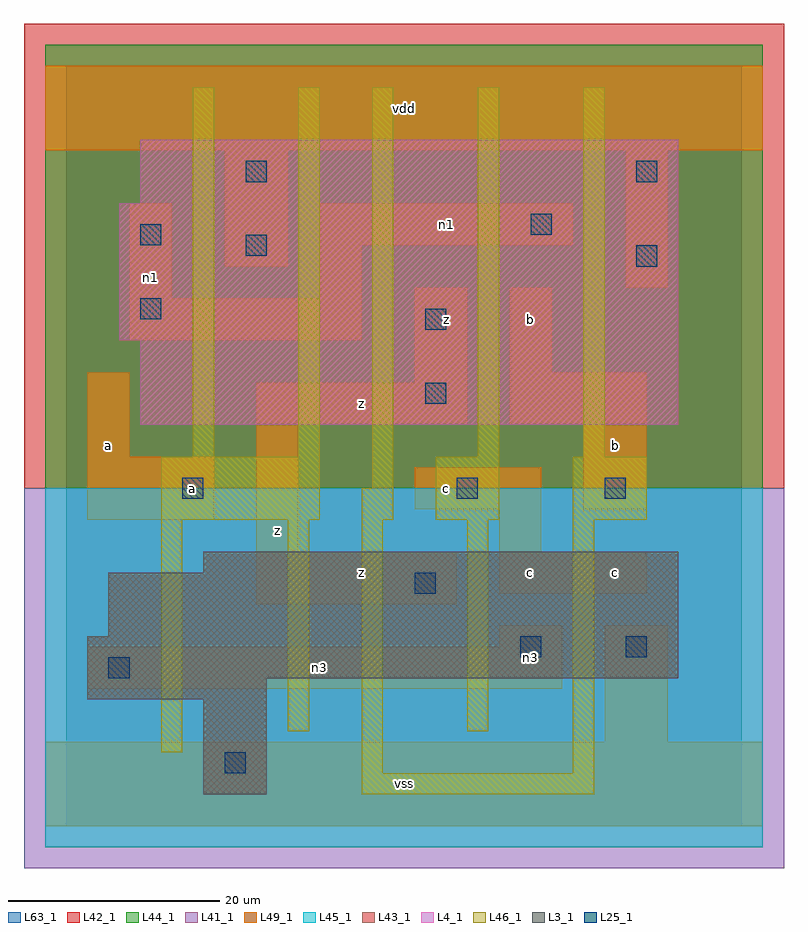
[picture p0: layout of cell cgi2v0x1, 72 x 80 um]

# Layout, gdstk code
import gdstk
lib = gdstk.Library(unit=1e-6, precision=1e-09)
def R(c, l, rs):  # rectangles x0, y0, x1, y1
    for r in rs: c.add(gdstk.rectangle(r[:2], r[2:], *l))
L3_1 = (3, 1)
L4_1 = (4, 1)
L25_1 = (25, 1)
L41_1 = (41, 1)
L42_1 = (42, 1)
L43_1 = (43, 1)
L44_1 = (44, 1)
L45_1 = (45, 1)
L46_1 = (46, 1)
L49_1 = (49, 1)
L63_1 = (63, 1)

cgi2v0x1 = lib.new_cell('cgi2v0x1')
R(cgi2v0x1, L3_1, [(13,3,19,12), (2,12,19,14), (2,14,58,18), (4,18,58,24), (13,24,58,26)])
R(cgi2v0x1, L4_1, [(7,38,58,46), (5,46,58,59), (7,59,58,65)])
R(cgi2v0x1, L25_1, [(15,5,17,7), (4,14,6,16), (43,16,45,18), (53,16,55,18), (33,22,35,24), (11,31,13,33), (37,31,39,33), (51,31,53,33), (34,40,36,42), (34,47,36,49), (7,48,9,50), (54,53,56,55), (17,54,19,56), (7,55,9,57), (44,56,46,58), (17,61,19,63), (54,61,56,63)])
R(cgi2v0x1, L41_1, [(-4,-4,68,32)])
R(cgi2v0x1, L42_1, [(-4,32,68,76)])
R(cgi2v0x1, L43_1, [(13,3,19,12), (2,12,19,14), (2,14,58,18), (4,18,58,24), (13,24,58,26), (7,38,58,46), (5,46,58,59), (7,59,58,65)])
R(cgi2v0x1, L44_1, [(-2,32,66,74)])
R(cgi2v0x1, L45_1, [(-2,-2,66,32)])
R(cgi2v0x1, L46_1, [(28,3,50,5), (28,5,30,29), (48,5,50,29), (9,7,11,29), (21,9,23,29), (38,9,40,29), (9,29,24,35), (28,29,31,32), (35,29,41,35), (48,29,55,35), (29,32,31,70), (12,35,14,70), (22,35,24,70), (39,35,41,70), (49,35,51,70)])
R(cgi2v0x1, L49_1, [(-2,0,66,8), (51,8,57,19), (2,13,47,17), (41,17,47,19), (18,21,37,26), (41,22,55,26), (18,26,22,38), (41,26,45,30), (2,29,14,35), (33,30,45,34), (49,30,55,38), (2,35,6,43), (18,38,38,42), (42,38,55,43), (33,42,38,51), (42,43,46,51), (6,46,28,50), (6,50,10,59), (24,50,28,55), (53,51,57,64), (15,53,21,64), (24,55,48,59), (-2,64,66,72)])
R(cgi2v0x1, L63_1, [(0,0,64,72)])
cgi2v0x1.add(gdstk.Label('a', (12,32), layer=49, texttype=1))
cgi2v0x1.add(gdstk.Label('a', (4,36), layer=49, texttype=1))
cgi2v0x1.add(gdstk.Label('n1', (8,52), layer=49, texttype=1))
cgi2v0x1.add(gdstk.Label('z', (28,24), layer=49, texttype=1))
cgi2v0x1.add(gdstk.Label('z', (20,28), layer=49, texttype=1))
cgi2v0x1.add(gdstk.Label('z', (28,40), layer=49, texttype=1))
cgi2v0x1.add(gdstk.Label('vss', (32,4), layer=49, texttype=1))
cgi2v0x1.add(gdstk.Label('n3', (24,15), layer=49, texttype=1))
cgi2v0x1.add(gdstk.Label('n3', (44,16), layer=49, texttype=1))
cgi2v0x1.add(gdstk.Label('c', (36,32), layer=49, texttype=1))
cgi2v0x1.add(gdstk.Label('c', (44,24), layer=49, texttype=1))
cgi2v0x1.add(gdstk.Label('z', (36,48), layer=49, texttype=1))
cgi2v0x1.add(gdstk.Label('b', (44,48), layer=49, texttype=1))
cgi2v0x1.add(gdstk.Label('n1', (36,57), layer=49, texttype=1))
cgi2v0x1.add(gdstk.Label('vdd', (32,68), layer=49, texttype=1))
cgi2v0x1.add(gdstk.Label('c', (52,24), layer=49, texttype=1))
cgi2v0x1.add(gdstk.Label('b', (52,36), layer=49, texttype=1))

lib.write_gds('cgi2v0x1.gds')
